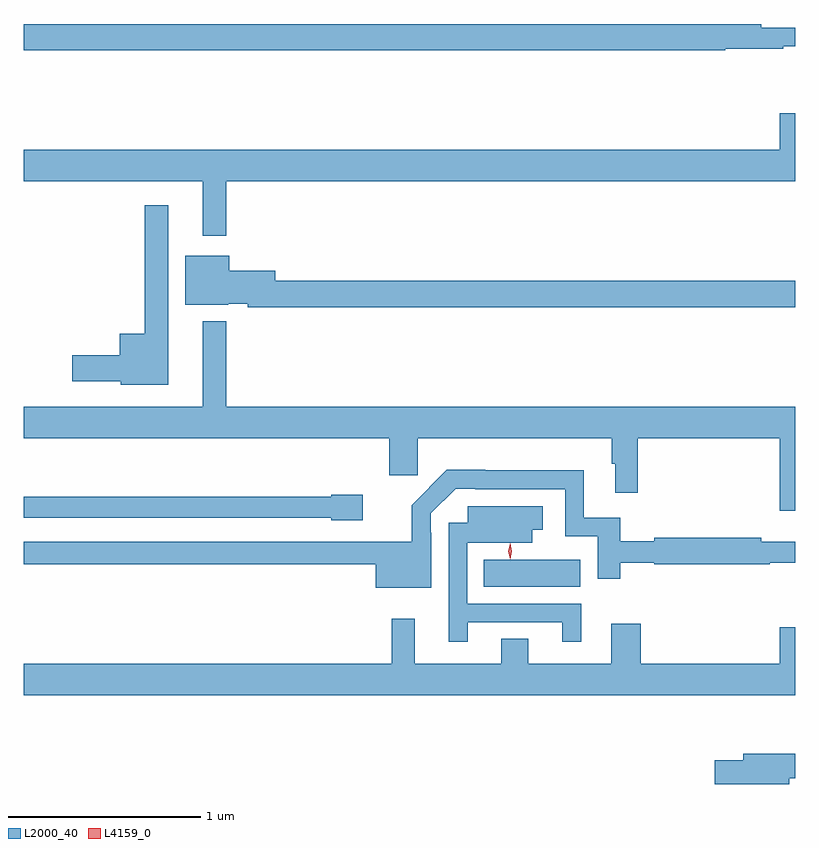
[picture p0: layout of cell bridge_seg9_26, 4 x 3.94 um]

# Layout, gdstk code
import gdstk
lib = gdstk.Library(unit=1e-6, precision=1e-09)
def R(c, l, rs):  # rectangles x0, y0, x1, y1
    for r in rs: c.add(gdstk.rectangle(r[:2], r[2:], *l))
def P(c, l, *ps):  # polygons
    for p in ps: c.add(gdstk.Polygon(p, *l))
L2000_40 = (2000, 40)
L4159_0 = (4159, 0)

bridge_seg9_26 = lib.new_cell('bridge_seg9_26')
R(bridge_seg9_26, L2000_40, [(990.646,1187.66,991.147,1187.8)])
P(bridge_seg9_26, L2000_40, [(991.898,1190.448),(992.198,1190.448),(992.198,1190.46),(992.261,1190.46),(992.261,1190.557),(992.084,1190.557),(992.084,1190.576),(988.261,1190.576),(988.261,1190.44),(991.898,1190.44)],
  [(989.311,1189.76),(992.261,1189.76),(992.261,1190.113),(992.18,1190.113),(992.18,1189.924),(988.261,1189.924),(988.261,1189.76),(989.189,1189.76),(989.189,1189.479),(989.311,1189.479)],
  [(989.011,1189.636),(988.89,1189.636),(988.89,1188.97),(988.76,1188.97),(988.76,1188.86),(988.512,1188.86),(988.512,1188.725),(988.764,1188.725),(988.764,1188.707),(989.011,1188.707)],
  [(992.261,1189.244),(989.566,1189.244),(989.566,1189.297),(989.326,1189.297),(989.326,1189.375),(989.099,1189.375),(989.099,1189.121),(989.322,1189.121),(989.322,1189.127),(989.422,1189.127),(989.422,1189.108),(992.261,1189.108)],
  [(989.311,1189.036),(989.189,1189.036),(989.189,1188.592),(988.261,1188.592),(988.261,1188.428),(990.155,1188.428),(990.155,1188.237),(990.305,1188.237),(990.305,1188.428),(991.309,1188.428),(991.309,1188.296),(991.328,1188.296),(991.328,1188.147),(991.445,1188.147),(991.445,1188.428),(992.18,1188.428),(992.18,1188.054),(992.261,1188.054),(992.261,1188.592),(989.311,1188.592)],
  [(990.375,1187.939),(990.372,1187.939),(990.372,1188.039),(990.501,1188.168),(990.601,1188.168),(990.601,1188.165),(991.068,1188.165),(991.068,1187.922),(991.236,1187.922),(991.236,1187.7),(991.352,1187.7),(991.352,1187.784),(991.529,1187.784),(991.529,1187.776),(992.129,1187.776),(992.129,1187.784),(992.261,1187.784),(992.261,1187.893),(992.084,1187.893),(992.084,1187.912),(991.529,1187.912),(991.529,1187.895),(991.352,1187.895),(991.352,1188.018),(991.165,1188.018),(991.165,1188.262),(990.653,1188.262),(990.653,1188.265),(990.454,1188.265),(990.272,1188.082),(990.272,1187.892),(988.261,1187.892),(988.261,1187.776),(990.086,1187.776),(990.086,1187.654),(990.375,1187.654)],
  [(990.019,1188.135),(989.856,1188.135),(989.856,1188.127),(988.261,1188.127),(988.261,1188.018),(989.856,1188.018),(989.856,1188.005),(990.019,1188.005)],
  [(990.562,1187.475),(991.052,1187.475),(991.052,1187.373),(991.15,1187.373),(991.15,1187.571),(990.561,1187.571),(990.561,1187.888),(990.898,1187.888),(990.898,1187.954),(990.952,1187.954),(990.952,1188.076),(990.564,1188.076),(990.564,1187.991),(990.465,1187.991),(990.465,1187.373),(990.562,1187.373)],
  [(992.261,1187.449),(992.18,1187.449),(992.18,1187.26),(991.46,1187.26),(991.46,1187.467),(991.307,1187.467),(991.307,1187.26),(990.877,1187.26),(990.877,1187.39),(990.737,1187.39),(990.737,1187.26),(990.287,1187.26),(990.287,1187.494),(990.169,1187.494),(990.169,1187.26),(988.261,1187.26),(988.261,1187.096),(992.261,1187.096)],
  [(992.23,1186.666),(992.261,1186.666),(992.261,1186.795),(991.991,1186.795),(991.991,1186.761),(991.842,1186.761),(991.842,1186.637),(992.23,1186.637)])
P(bridge_seg9_26, L4159_0, [(990.783,1187.801),(990.782,1187.802),(990.772,1187.843),(990.782,1187.884),(990.782,1187.884),(990.783,1187.884),(990.792,1187.843),(990.783,1187.802)])

lib.write_gds('bridge_seg9_26.gds')
